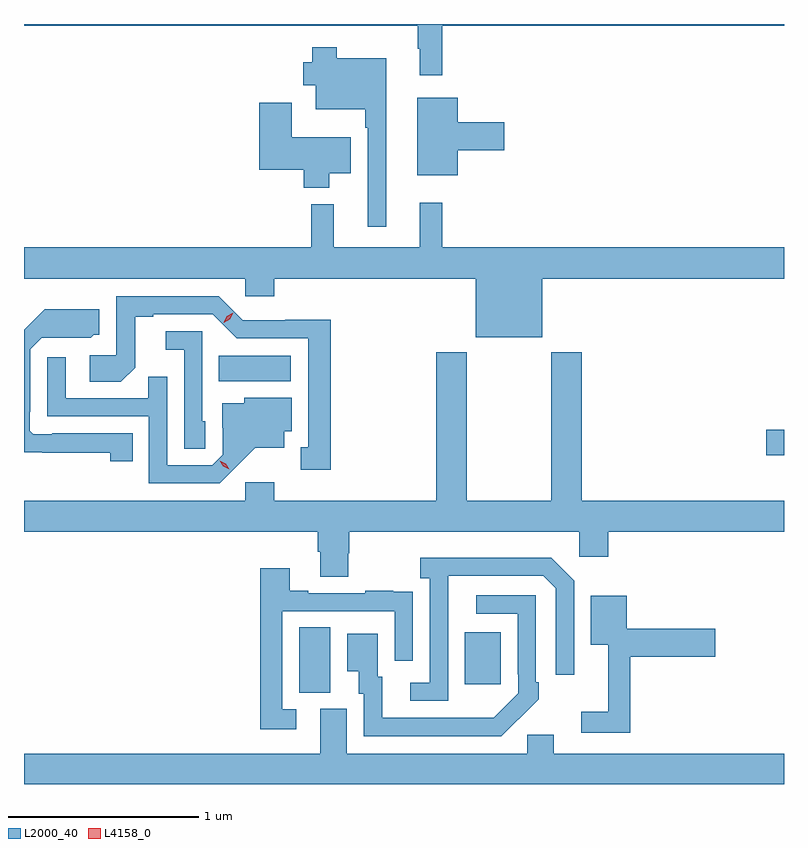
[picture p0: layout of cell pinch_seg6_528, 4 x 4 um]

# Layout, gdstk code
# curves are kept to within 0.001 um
import gdstk
lib = gdstk.Library(unit=1e-6, precision=1e-09)
def R(c, l, rs):  # rectangles x0, y0, x1, y1
    for r in rs: c.add(gdstk.rectangle(r[:2], r[2:], *l))
def P(c, l, *ps):  # polygons
    for p in ps: c.add(gdstk.Polygon(p, *l))
L2000_40 = (2000, 40)
L4158_0 = (4158, 0)

pinch_seg6_528 = lib.new_cell('pinch_seg6_528')
R(pinch_seg6_528, L2000_40, [(772.046,937.165,772.21,937.508), (772.919,937.209,773.107,937.483), (774.504,938.414,774.598,938.549), (771.622,938.804,772.003,938.938)])
P(pinch_seg6_528, L2000_40, [(772.799,940.676),(774.598,940.676),(774.598,940.684),(770.598,940.684),(770.598,940.676),(772.671,940.676),(772.671,940.553),(772.682,940.553),(772.682,940.413),(772.799,940.413)],
  [(772.504,940.504),(772.243,940.504),(772.243,940.561),(772.114,940.561),(772.114,940.483),(772.067,940.483),(772.067,940.361),(772.133,940.361),(772.133,940.235),(772.395,940.235),(772.395,940.139),(772.407,940.139),(772.407,939.618),(772.504,939.618)],
  [(772.882,940.019),(773.125,940.019),(773.125,940.166),(772.882,940.166),(772.882,940.297),(772.667,940.297),(772.667,939.887),(772.882,939.887)],
  [(772.204,939.899),(772.318,939.899),(772.318,940.087),(772.006,940.087),(772.006,940.27),(771.836,940.27),(771.836,939.917),(772.07,939.917),(772.07,939.821),(772.204,939.821)],
  [(773.326,939.344),(774.598,939.344),(774.598,939.508),(772.799,939.508),(772.799,939.742),(772.682,939.742),(772.682,939.508),(772.229,939.508),(772.229,939.736),(772.111,939.736),(772.111,939.508),(770.598,939.508),(770.598,939.344),(771.762,939.344),(771.762,939.251),(771.914,939.251),(771.914,939.344),(772.976,939.344),(772.976,939.035),(773.326,939.035)],
  [(772.213,939.128),(771.972,939.128),(771.972,939.126),(771.75,939.126),(771.624,939.252),(771.084,939.252),(771.084,938.94),(770.943,938.94),(770.943,938.8),(771.107,938.8),(771.183,938.876),(771.183,939.144),(771.277,939.144),(771.277,939.156),(771.591,939.156),(771.717,939.03),(772.094,939.03),(772.094,938.457),(772.055,938.457),(772.055,938.337),(772.213,938.337)],
  [(771.17,938.529),(770.746,938.529),(770.746,938.526),(770.646,938.526),(770.628,938.544),(770.628,938.644),(770.631,938.644),(770.631,938.973),(770.691,939.033),(770.948,939.032),(770.964,939.048),(770.995,939.048),(770.995,939.184),(770.707,939.184),(770.598,939.074),(770.598,938.429),(771.052,938.428),(771.052,938.382),(771.17,938.382)],
  [(771.552,938.592),(771.537,938.592),(771.537,939.066),(771.345,939.066),(771.345,938.969),(771.441,938.969),(771.441,938.449),(771.552,938.449)],
  [(772.305,937.899),(772.31,937.899),(772.31,938.012),(773.52,938.012),(773.52,937.881),(773.672,937.881),(773.672,938.012),(774.598,938.012),(774.598,938.176),(773.534,938.176),(773.534,938.956),(773.374,938.956),(773.374,938.176),(772.929,938.176),(772.929,938.956),(772.769,938.956),(772.769,938.176),(771.914,938.176),(771.914,938.272),(771.762,938.272),(771.762,938.176),(770.598,938.176),(770.598,938.012),(772.145,938.012),(772.145,937.906),(772.157,937.906),(772.157,937.774),(772.305,937.774)],
  [(771.712,938.351),(771.815,938.453),(771.967,938.453),(771.967,938.54),(772.006,938.54),(772.006,938.716),(771.756,938.716),(771.756,938.689),(771.641,938.689),(771.641,938.56),(771.645,938.56),(771.645,938.418),(771.588,938.361),(771.351,938.361),(771.351,938.828),(771.253,938.828),(771.253,938.715),(770.817,938.715),(770.817,938.929),(770.721,938.929),(770.721,938.619),(771.255,938.619),(771.255,938.268),(771.628,938.268)],
  [(772.83,937.579),(772.831,937.779),(773.331,937.779),(773.397,937.713),(773.397,937.26),(773.493,937.26),(773.493,937.755),(773.372,937.876),(772.683,937.876),(772.683,937.766),(772.734,937.766),(772.734,937.218),(772.632,937.218),(772.632,937.122),(772.83,937.122)],
  [(772.03,937.077),(771.957,937.077),(771.957,937.593),(772.548,937.593),(772.548,937.332),(772.644,937.332),(772.644,937.586),(772.643,937.586),(772.643,937.695),(772.541,937.695),(772.541,937.702),(772.393,937.702),(772.393,937.689),(772.093,937.689),(772.093,937.702),(771.997,937.702),(771.997,937.819),(771.841,937.819),(771.841,936.972),(772.03,936.972)],
  [(773.201,937.027),(773.202,937.026),(773.307,937.131),(773.307,937.219),(773.292,937.219),(773.292,937.677),(772.977,937.677),(772.977,937.581),(773.196,937.581),(773.196,937.261),(773.199,937.261),(773.199,937.161),(773.071,937.033),(772.483,937.032),(772.483,937.248),(772.459,937.248),(772.459,937.474),(772.298,937.474),(772.298,937.277),(772.361,937.277),(772.361,937.158),(772.386,937.158),(772.386,936.936),(773.11,936.936)],
  [(773.789,937.355),(774.235,937.355),(774.235,937.502),(773.77,937.502),(773.77,937.675),(773.582,937.675),(773.582,937.418),(773.672,937.418),(773.672,937.063),(773.532,937.063),(773.532,936.954),(773.789,936.954)],
  [(774.598,936.844),(773.386,936.844),(773.386,936.942),(773.247,936.942),(773.247,936.844),(772.297,936.844),(772.297,937.08),(772.157,937.08),(772.157,936.844),(770.598,936.844),(770.598,936.684),(774.598,936.684)])
P(pinch_seg6_528, L4158_0, [(771.648,939.112),(771.648,939.113),(771.666,939.145),(771.698,939.164),(771.698,939.164),(771.698,939.163),(771.68,939.131),(771.649,939.112)],
  [(771.677,938.34),(771.646,938.356),(771.629,938.385),(771.629,938.385),(771.629,938.385),(771.66,938.37),(771.677,938.341),(771.677,938.34)])

lib.write_gds('pinch_seg6_528.gds')
